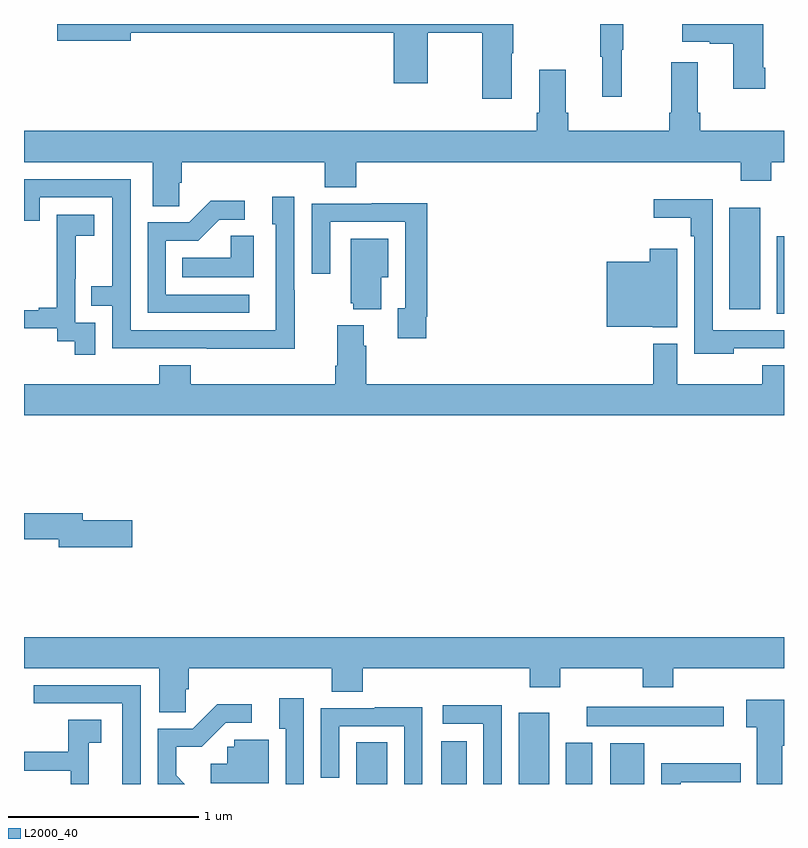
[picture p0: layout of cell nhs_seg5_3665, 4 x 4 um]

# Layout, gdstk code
import gdstk
lib = gdstk.Library(unit=1e-6, precision=1e-09)
def R(c, l, rs):  # rectangles x0, y0, x1, y1
    for r in rs: c.add(gdstk.rectangle(r[:2], r[2:], *l))
def P(c, l, *ps):  # polygons
    for p in ps: c.add(gdstk.Polygon(p, *l))
L2000_40 = (2000, 40)

nhs_seg5_3665 = lib.new_cell('nhs_seg5_3665')
R(nhs_seg5_3665, L2000_40, [(328.748,874.799,328.912,875.018), (329.195,874.799,329.329,875.023), (329.603,874.799,329.764,875.173), (329.852,874.799,329.992,875.017), (330.086,874.799,330.265,875.014), (329.961,875.102,330.682,875.206), (330.962,877.273,331,877.681), (330.713,877.299,330.874,877.831)])
P(nhs_seg5_3665, L2000_40, [(330.9,878.569),(330.892,878.569),(330.892,878.799),(330.465,878.799),(330.465,878.705),(330.608,878.705),(330.608,878.695),(330.734,878.695),(330.734,878.457),(330.9,878.457)],
  [(329.566,878.644),(329.574,878.644),(329.574,878.799),(327.174,878.799),(327.174,878.71),(327.562,878.71),(327.562,878.752),(328.946,878.752),(328.946,878.487),(329.124,878.487),(329.124,878.752),(329.413,878.752),(329.413,878.406),(329.566,878.406)],
  [(330.146,878.664),(330.154,878.664),(330.154,878.799),(330.033,878.799),(330.033,878.627),(330.044,878.627),(330.044,878.415),(330.146,878.415)],
  [(327,878.072),(327.677,878.072),(327.677,877.84),(327.816,877.84),(327.816,877.963),(327.83,877.963),(327.83,878.072),(328.583,878.072),(328.583,877.939),(328.748,877.939),(328.748,878.072),(330.773,878.072),(330.773,877.973),(330.933,877.973),(330.933,878.072),(331,878.072),(331,878.236),(330.56,878.236),(330.56,878.332),(330.547,878.332),(330.547,878.599),(330.407,878.599),(330.407,878.332),(330.395,878.332),(330.395,878.236),(329.864,878.236),(329.864,878.332),(329.851,878.332),(329.851,878.557),(329.711,878.557),(329.711,878.332),(329.699,878.332),(329.699,878.236),(327,878.236)],
  [(328.425,877.397),(328.422,877.397),(328.422,877.891),(328.307,877.891),(328.307,877.746),(328.326,877.746),(328.326,877.188),(327.561,877.188),(327.561,877.983),(327,877.983),(327,877.764),(327.084,877.764),(327.084,877.887),(327.465,877.887),(327.465,877.418),(327.355,877.418),(327.355,877.317),(327.465,877.317),(327.465,877.092),(327.961,877.092),(327.961,877.091),(328.425,877.091)],
  [(330.735,877.092),(331,877.092),(331,877.188),(330.624,877.188),(330.624,877.877),(330.315,877.877),(330.315,877.778),(330.508,877.778),(330.508,877.682),(330.528,877.682),(330.528,877.064),(330.735,877.064)],
  [(328.186,877.374),(327.747,877.374),(327.747,877.659),(327.916,877.659),(328.027,877.77),(328.162,877.77),(328.162,877.868),(327.983,877.868),(327.87,877.755),(327.651,877.755),(327.651,877.278),(328.186,877.278)],
  [(329.116,877.258),(329.123,877.258),(329.123,877.856),(328.831,877.856),(328.831,877.854),(328.515,877.854),(328.515,877.485),(328.611,877.485),(328.611,877.758),(329.007,877.758),(329.007,877.302),(328.967,877.302),(328.967,877.146),(329.116,877.146)],
  [(327.375,877.227),(327.27,877.227),(327.27,877.457),(327.272,877.457),(327.272,877.685),(327.37,877.685),(327.37,877.795),(327.172,877.795),(327.172,877.589),(327.173,877.589),(327.173,877.306),(327.077,877.306),(327.077,877.293),(327,877.293),(327,877.197),(327.174,877.197),(327.174,877.129),(327.267,877.129),(327.267,877.059),(327.375,877.059)],
  [(328.21,877.685),(328.089,877.685),(328.089,877.57),(327.832,877.57),(327.832,877.466),(328.21,877.466)],
  [(328.879,877.466),(328.918,877.466),(328.918,877.669),(328.721,877.669),(328.721,877.329),(328.733,877.329),(328.733,877.298),(328.879,877.298)],
  [(330.439,877.615),(330.293,877.615),(330.293,877.549),(330.068,877.549),(330.068,877.205),(330.309,877.205),(330.309,877.202),(330.439,877.202)],
  [(331,877.003),(330.886,877.003),(330.886,876.904),(330.439,876.904),(330.439,877.117),(330.311,877.117),(330.311,876.904),(328.802,876.904),(328.802,877.106),(328.789,877.106),(328.789,877.213),(328.649,877.213),(328.649,877),(328.637,877),(328.637,876.904),(327.878,876.904),(327.878,877.003),(327.713,877.003),(327.713,876.904),(327,876.904),(327,876.74),(331,876.74)],
  [(327.571,876.188),(327.31,876.188),(327.31,876.224),(327,876.224),(327,876.088),(327.182,876.088),(327.182,876.046),(327.571,876.046)],
  [(327.851,875.298),(327.866,875.298),(327.866,875.408),(328.619,875.408),(328.619,875.284),(328.784,875.284),(328.784,875.408),(329.663,875.408),(329.663,875.309),(329.823,875.309),(329.823,875.408),(330.256,875.408),(330.256,875.309),(330.416,875.309),(330.416,875.408),(331,875.408),(331,875.572),(327,875.572),(327,875.408),(327.713,875.408),(327.713,875.176),(327.851,875.176)],
  [(327.615,875.319),(327.051,875.319),(327.051,875.223),(327.518,875.223),(327.518,874.799),(327.615,874.799)],
  [(328.473,875.251),(328.343,875.251),(328.343,875.09),(328.377,875.09),(328.377,874.799),(328.473,874.799)],
  [(330.992,875),(331,875),(331,875.242),(330.801,875.242),(330.801,875.098),(330.857,875.098),(330.857,874.799),(330.992,874.799)],
  [(327.802,874.844),(327.802,874.994),(327.935,874.994),(328.062,875.121),(328.198,875.121),(328.198,875.219),(328.016,875.219),(327.888,875.091),(327.705,875.091),(327.705,874.799),(327.847,874.799)],
  [(329.514,875.213),(329.205,875.213),(329.205,875.115),(329.418,875.115),(329.418,874.799),(329.514,874.799)],
  [(329.097,875.203),(328.847,875.203),(328.847,875.199),(328.563,875.199),(328.563,874.833),(328.659,874.833),(328.659,875.103),(329.001,875.103),(329.001,874.799),(329.097,874.799)],
  [(327.342,875.017),(327.406,875.017),(327.406,875.138),(327.234,875.138),(327.234,874.968),(327,874.968),(327,874.869),(327.246,874.869),(327.246,874.799),(327.342,874.799)],
  [(328.288,875.031),(328.107,875.031),(328.107,874.995),(328.071,874.995),(328.071,874.906),(327.984,874.906),(327.984,874.803),(328.288,874.803)],
  [(330.457,874.807),(330.772,874.807),(330.772,874.907),(330.353,874.907),(330.353,874.799),(330.457,874.799)])

lib.write_gds('nhs_seg5_3665.gds')
